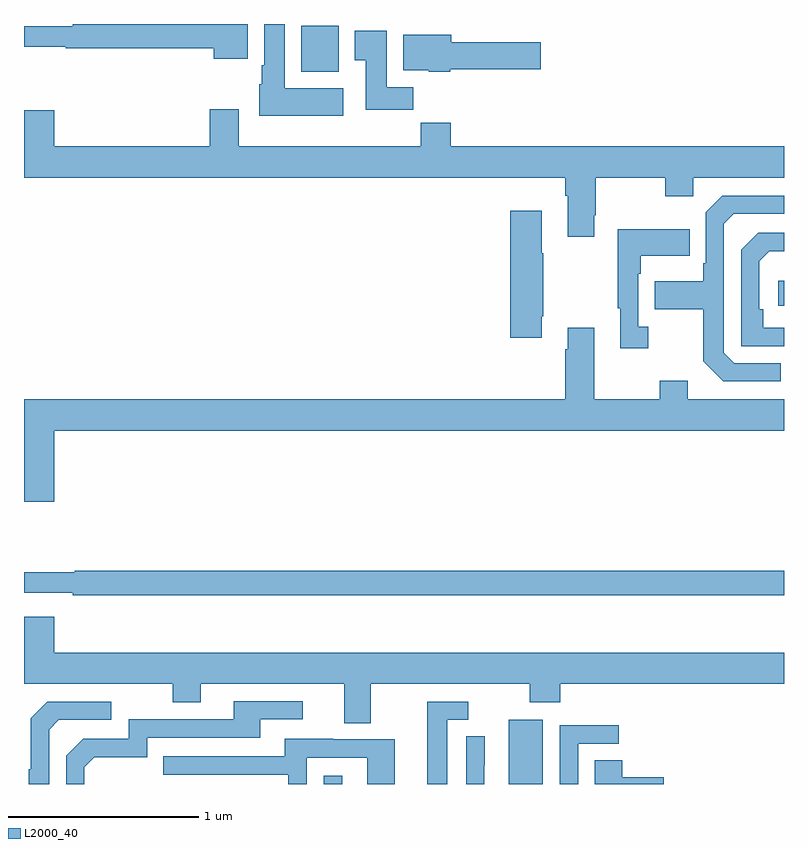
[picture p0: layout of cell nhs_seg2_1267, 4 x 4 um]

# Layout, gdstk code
import gdstk
lib = gdstk.Library(unit=1e-6, precision=1e-09)
def R(c, l, rs):  # rectangles x0, y0, x1, y1
    for r in rs: c.add(gdstk.rectangle(r[:2], r[2:], *l))
def P(c, l, *ps):  # polygons
    for p in ps: c.add(gdstk.Polygon(p, *l))
L2000_40 = (2000, 40)

nhs_seg2_1267 = lib.new_cell('nhs_seg2_1267')
R(nhs_seg2_1267, L2000_40, [(178.578,621.8,178.675,621.844), (179.552,621.8,179.731,622.138), (180.969,624.318,181,624.448), (178.46,625.55,178.657,625.792)])
P(nhs_seg2_1267, L2000_40, [(178.681,625.462),(178.372,625.462),(178.372,625.8),(178.265,625.8),(178.265,625.582),(178.25,625.582),(178.25,625.482),(178.238,625.482),(178.238,625.316),(178.681,625.316)],
  [(178.177,625.8),(177.256,625.8),(177.256,625.789),(177,625.789),(177,625.68),(177.219,625.68),(177.219,625.672),(177.998,625.672),(177.998,625.616),(178.177,625.616)],
  [(179.048,625.468),(178.909,625.468),(178.909,625.765),(178.742,625.765),(178.742,625.609),(178.799,625.609),(178.799,625.35),(179.048,625.35)],
  [(179.244,625.561),(179.719,625.561),(179.719,625.703),(179.248,625.703),(179.248,625.744),(178.997,625.744),(178.997,625.556),(179.13,625.556),(179.13,625.55),(179.244,625.55)],
  [(179.246,625.28),(179.089,625.28),(179.089,625.156),(178.129,625.156),(178.129,625.351),(177.977,625.351),(177.977,625.156),(177.16,625.156),(177.16,625.345),(177,625.345),(177,624.992),(179.849,624.992),(179.849,624.896),(179.861,624.896),(179.861,624.681),(180.001,624.681),(180.001,624.793),(180.009,624.793),(180.009,624.992),(180.376,624.992),(180.376,624.893),(180.522,624.893),(180.522,624.992),(181,624.992),(181,625.156),(179.246,625.156)],
  [(180.982,624.015),(180.738,624.015),(180.684,624.069),(180.684,624.75),(180.735,624.801),(181,624.801),(181,624.897),(180.675,624.897),(180.588,624.81),(180.588,624.541),(180.576,624.541),(180.576,624.445),(180.319,624.445),(180.319,624.298),(180.576,624.298),(180.576,624.025),(180.681,623.919),(180.982,623.919)],
  [(179.725,624.262),(179.733,624.262),(179.733,624.593),(179.725,624.593),(179.725,624.817),(179.558,624.817),(179.558,624.15),(179.725,624.15)],
  [(180.286,624.206),(180.234,624.206),(180.234,624.485),(180.247,624.485),(180.247,624.581),(180.503,624.581),(180.503,624.721),(180.126,624.721),(180.126,624.305),(180.137,624.305),(180.137,624.093),(180.286,624.093)],
  [(181,624.201),(180.89,624.201),(180.89,624.298),(180.87,624.298),(180.87,624.552),(180.923,624.605),(181,624.605),(181,624.702),(180.864,624.702),(180.774,624.612),(180.774,624.105),(181,624.105)],
  [(177.16,623.66),(181,623.66),(181,623.824),(180.493,623.824),(180.493,623.923),(180.346,623.923),(180.346,623.824),(180.001,623.824),(180.001,624.202),(179.861,624.202),(179.861,624.089),(179.849,624.089),(179.849,623.824),(177,623.824),(177,623.286),(177.16,623.286)],
  [(181,622.922),(177.266,622.922),(177.266,622.915),(177,622.915),(177,622.806),(177.256,622.806),(177.256,622.794),(181,622.794)],
  [(178.825,622.328),(179.662,622.328),(179.662,622.229),(179.822,622.229),(179.822,622.328),(181,622.328),(181,622.492),(177.16,622.492),(177.16,622.681),(177,622.681),(177,622.328),(177.784,622.328),(177.784,622.229),(177.931,622.229),(177.931,622.328),(178.685,622.328),(178.685,622.12),(178.825,622.12)],
  [(177.318,621.888),(177.371,621.941),(177.648,621.941),(177.648,622.044),(178.243,622.044),(178.243,622.14),(178.468,622.14),(178.468,622.236),(178.103,622.236),(178.103,622.14),(177.552,622.14),(177.552,622.038),(177.312,622.038),(177.222,621.948),(177.222,621.8),(177.318,621.8)],
  [(177.132,622.086),(177.183,622.137),(177.46,622.137),(177.46,622.233),(177.123,622.233),(177.036,622.146),(177.036,621.877),(177.024,621.877),(177.024,621.8),(177.132,621.8)],
  [(179.227,622.137),(179.338,622.137),(179.338,622.233),(179.123,622.233),(179.123,621.8),(179.227,621.8)],
  [(179.916,622.011),(180.13,622.011),(180.13,622.11),(179.82,622.11),(179.82,621.8),(179.916,621.8)],
  [(179.423,621.898),(179.424,621.898),(179.424,622.052),(179.328,622.052),(179.328,621.8),(179.423,621.8)],
  [(178.488,621.939),(178.806,621.939),(178.806,621.8),(178.951,621.8),(178.951,622.035),(178.627,622.035),(178.627,622.039),(178.373,622.039),(178.373,621.945),(177.733,621.945),(177.733,621.849),(178.392,621.849),(178.392,621.8),(178.488,621.8)],
  [(180.367,621.836),(180.149,621.836),(180.149,621.926),(180.005,621.926),(180.005,621.8),(180.367,621.8)])

lib.write_gds('nhs_seg2_1267.gds')
